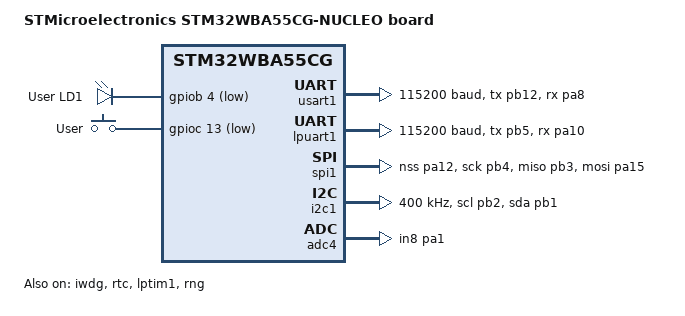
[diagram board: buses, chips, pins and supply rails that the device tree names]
/*
 * Copyright (c)  2023 STMicroelectronics
 *
 * SPDX-License-Identifier: Apache-2.0
 */

/dts-v1/;
#include <st/wba/stm32wba55Xg.dtsi>
/* Todo: Once available, use wba55 dedicated pinctrl.dtsi */
#include <st/wba/stm32wba52cgux-pinctrl.dtsi>
#include "arduino_r3_connector.dtsi"
#include <zephyr/dt-bindings/input/input-event-codes.h>

/ {
	model = "STMicroelectronics STM32WBA55CG-NUCLEO board";
	compatible = "st,stm32wba55cg-nucleo";

	#address-cells = <1>;
	#size-cells = <1>;

	chosen {
		zephyr,console = &usart1;
		zephyr,shell-uart = &usart1;
		zephyr,sram = &sram0;
		zephyr,flash = &flash0;
	};

	leds: leds {
		compatible = "gpio-leds";
		blue_led_1: led_1 {
			gpios = <&gpiob 4 GPIO_ACTIVE_LOW>;
			label = "User LD1";
		};
	};

	gpio_keys {
		compatible = "gpio-keys";
		user_button: button {
			label = "User";
			gpios = <&gpioc 13 GPIO_ACTIVE_LOW>;
			zephyr,code = <INPUT_KEY_0>;
		};
	};

	aliases {
		led0 = &blue_led_1;
		sw0 = &user_button;
	};
};

&clk_lsi {
	status = "okay";
};

&clk_lse {
	status = "okay";
};

&clk_hse {
	status = "okay";
	hse-div2;
};

&clk_hsi {
	status = "okay";
};

&rcc {
	clocks = <&clk_hse>;
	clock-frequency = <DT_FREQ_M(16)>;
	ahb-prescaler = <1>;
	ahb5-prescaler = <2>;
	apb1-prescaler = <1>;
	apb2-prescaler = <2>;
	apb7-prescaler = <1>;
};

&iwdg {
	status = "okay";
};

&rtc {
	status = "okay";
	clocks = <&rcc STM32_CLOCK_BUS_APB7 0x00200000>,
			<&rcc STM32_SRC_LSE RTC_SEL(1)>;
	prescaler = <32768>;
};

&usart1 {
	clocks = <&rcc STM32_CLOCK_BUS_APB2 0x00004000>,
		 <&rcc STM32_SRC_HSI16 USART1_SEL(2)>;
	pinctrl-0 = <&usart1_tx_pb12 &usart1_rx_pa8>;
	pinctrl-1 = <&analog_pb12 &analog_pa8>;
	pinctrl-names = "default", "sleep";
	current-speed = <115200>;
	status = "okay";
};

&lpuart1 {
	pinctrl-0 = <&lpuart1_tx_pb5 &lpuart1_rx_pa10>;
	pinctrl-names = "default";
	current-speed = <115200>;
	status = "okay";
};

&spi1 {
	pinctrl-0 = <&spi1_nss_pa12 &spi1_sck_pb4
		     &spi1_miso_pb3 &spi1_mosi_pa15>;
	pinctrl-names = "default";
	status = "okay";
};

&i2c1 {
	pinctrl-0 = <&i2c1_scl_pb2 &i2c1_sda_pb1>;
	pinctrl-names = "default";
	status = "okay";
	clock-frequency = <I2C_BITRATE_FAST>;
};

&adc4 {
	pinctrl-0 = <&adc4_in8_pa1>;
	pinctrl-names = "default";
	st,adc-clock-source = <ASYNC>;
	st,adc-prescaler = <4>;
	status = "okay";
};

stm32_lp_tick_source: &lptim1 {
	clocks = <&rcc STM32_CLOCK_BUS_APB7 0x00000800>,
		 <&rcc STM32_SRC_LSE LPTIM1_SEL(3)>;
	status = "okay";
};

&rng {
	status = "okay";
};

&flash0 {
	partitions {
		compatible = "fixed-partitions";
		#address-cells = <1>;
		#size-cells = <1>;

		/* Last 16K of flash: Min 2 sectors */
		storage_partition: partition@f8000 {
			label = "storage";
			reg = <0x000f8000 DT_SIZE_K(16)>;
		};

	};
};
